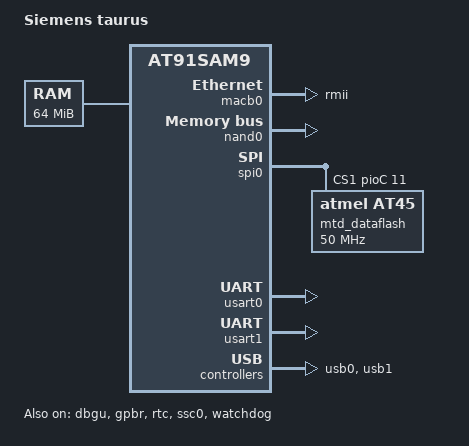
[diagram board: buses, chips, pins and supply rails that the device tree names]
/*
 * at91sam9g20-taurus.dts
 * (C) Copyright 2016
 * Heiko Schocher, DENX Software Engineering, hs@denx.de.
 *
 * Based on:
 * at91sam9g20ek.dts - Device Tree file for Atmel at91sam9g20ek board
 *
 * Copyright (C) 2012 Jean-Christophe PLAGNIOL-VILLARD <plagnioj@jcrosoft.com>
 *
 * Licensed under GPLv2.
 */
/dts-v1/;
#include "at91sam9g20.dtsi"

/ {
	model = "Siemens taurus";
	compatible = "atmel,at91sam9g20", "atmel,at91sam9";

	chosen {
		u-boot,dm-pre-reloc;
		stdout-path = &dbgu;
	};

	memory {
		reg = <0x20000000 0x4000000>;
	};

	clocks {
		slow_xtal {
			clock-frequency = <32768>;
		};

		main_xtal {
			clock-frequency = <18432000>;
		};
	};
};

&dbgu {
	status = "okay";
};

&gpbr {
	status = "okay";
};

&macb0 {
	phy-mode = "rmii";
	status = "okay";
};

&nand0 {
	nand-bus-width = <8>;
	nand-ecc-mode = "soft";
	nand-on-flash-bbt;
	status = "okay";
};

&pinctrl {
	u-boot,dm-pre-reloc;
	board {
		pinctrl_pck0_as_mck: pck0_as_mck {
			atmel,pins =
			/* PC1 periph B */
			<AT91_PIOC 1 AT91_PERIPH_B AT91_PINCTRL_NONE>;
		};

	};
};

&rtc {
	atmel,rtt-rtc-time-reg = <&gpbr 0x0>;
	status = "okay";
};

&spi0 {
	cs-gpios = <0>, <&pioC 11 0>, <0>, <0>;
	mtd_dataflash@0 {
		compatible = "atmel,at45", "atmel,dataflash";
		spi-max-frequency = <50000000>;
		reg = <1>;
	};
};

&ssc0 {
	status = "okay";
	pinctrl-0 = <&pinctrl_ssc0_tx>;
};

&usart0 {
	pinctrl-0 =
		<&pinctrl_usart0
		 &pinctrl_usart0_rts
		 &pinctrl_usart0_cts
		 &pinctrl_usart0_dtr_dsr
		 &pinctrl_usart0_dcd
		 &pinctrl_usart0_ri>;
	status = "okay";
};

&usart1 {
	status = "okay";
};

&usb0 {
	num-ports = <2>;
	status = "okay";
};

&usb1 {
	atmel,vbus-gpio = <&pioC 5 GPIO_ACTIVE_HIGH>;
	status = "okay";
};

&watchdog {
	u-boot,dm-pre-reloc;
	timeout-sec = <15>;
	status = "okay";
};
